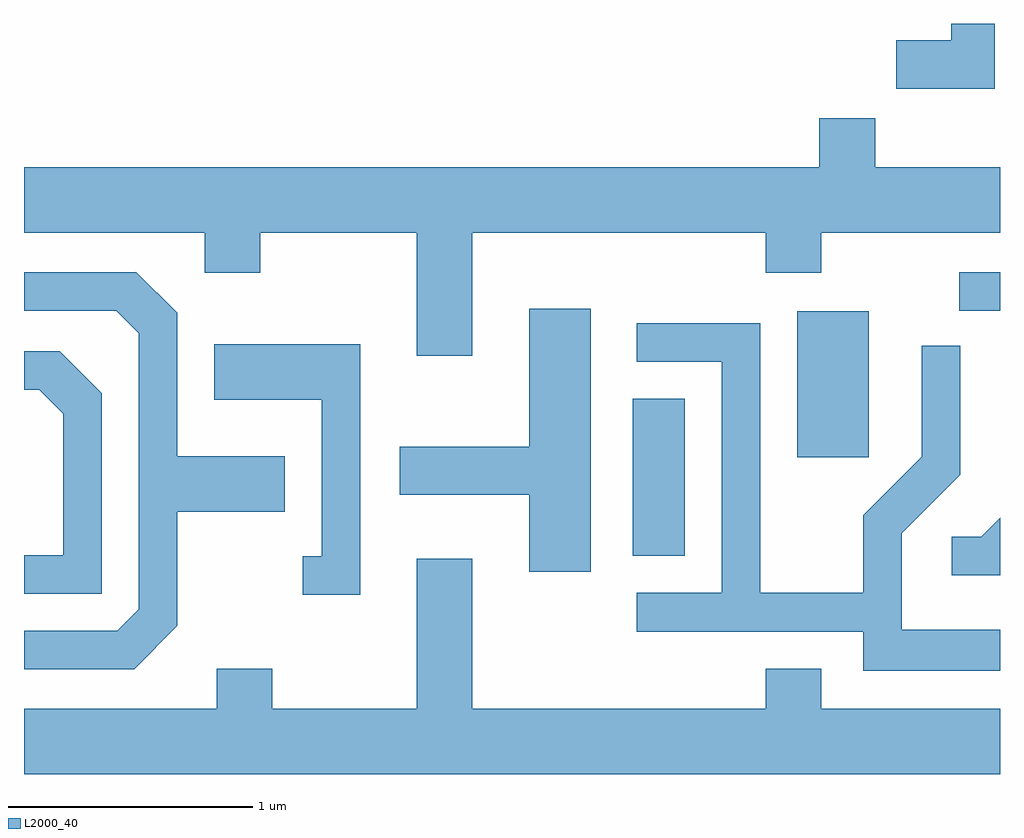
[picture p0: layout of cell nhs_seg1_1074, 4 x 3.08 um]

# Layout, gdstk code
import gdstk
lib = gdstk.Library(unit=1e-6, precision=1e-09)
def R(c, l, rs):  # rectangles x0, y0, x1, y1
    for r in rs: c.add(gdstk.rectangle(r[:2], r[2:], *l))
def P(c, l, *ps):  # polygons
    for p in ps: c.add(gdstk.Polygon(p, *l))
L2000_40 = (2000, 40)

nhs_seg1_1074 = lib.new_cell('nhs_seg1_1074')
R(nhs_seg1_1074, L2000_40, [(220.106,951.531,220.319,952.174), (220.781,951.936,221.074,952.534), (221.443,952.536,221.611,952.694)])
P(nhs_seg1_1074, L2000_40, [(221.589,953.712),(221.411,953.712),(221.411,953.644),(221.186,953.644),(221.186,953.446),(221.589,953.446)],
  [(219.449,952.856),(220.651,952.856),(220.651,952.691),(220.879,952.691),(220.879,952.856),(221.611,952.856),(221.611,953.124),(221.099,953.124),(221.099,953.324),(220.871,953.324),(220.871,953.124),(217.611,953.124),(217.611,952.856),(218.351,952.856),(218.351,952.691),(218.579,952.691),(218.579,952.856),(219.221,952.856),(219.221,952.351),(219.449,952.351)],
  [(218.239,951.244),(218.239,951.711),(218.679,951.711),(218.679,951.939),(218.239,951.939),(218.239,952.527),(218.072,952.694),(217.611,952.694),(217.611,952.536),(217.989,952.536),(218.081,952.444),(218.081,951.312),(217.994,951.224),(217.611,951.224),(217.611,951.066),(218.062,951.066)],
  [(219.934,952.544),(219.681,952.544),(219.681,951.979),(219.151,951.979),(219.151,951.781),(219.681,951.781),(219.681,951.466),(219.934,951.466)],
  [(221.611,951.229),(221.209,951.229),(221.209,951.624),(221.449,951.864),(221.449,952.393),(221.291,952.393),(221.291,951.937),(221.051,951.697),(221.051,951.379),(220.629,951.379),(220.629,952.484),(220.123,952.484),(220.123,952.326),(220.471,952.326),(220.471,951.379),(220.123,951.379),(220.123,951.221),(221.051,951.221),(221.051,951.061),(221.611,951.061)],
  [(218.989,952.399),(218.391,952.399),(218.391,952.171),(218.831,952.171),(218.831,951.529),(218.753,951.529),(218.753,951.371),(218.989,951.371)],
  [(217.929,952.197),(217.757,952.369),(217.611,952.369),(217.611,952.211),(217.674,952.211),(217.771,952.114),(217.771,951.534),(217.611,951.534),(217.611,951.376),(217.929,951.376)],
  [(221.611,951.687),(221.534,951.609),(221.413,951.609),(221.413,951.451),(221.611,951.451)],
  [(221.611,950.904),(220.879,950.904),(220.879,951.069),(220.651,951.069),(220.651,950.904),(219.449,950.904),(219.449,951.519),(219.221,951.519),(219.221,950.904),(218.629,950.904),(218.629,951.069),(218.401,951.069),(218.401,950.904),(217.611,950.904),(217.611,950.636),(221.611,950.636)])

lib.write_gds('nhs_seg1_1074.gds')
